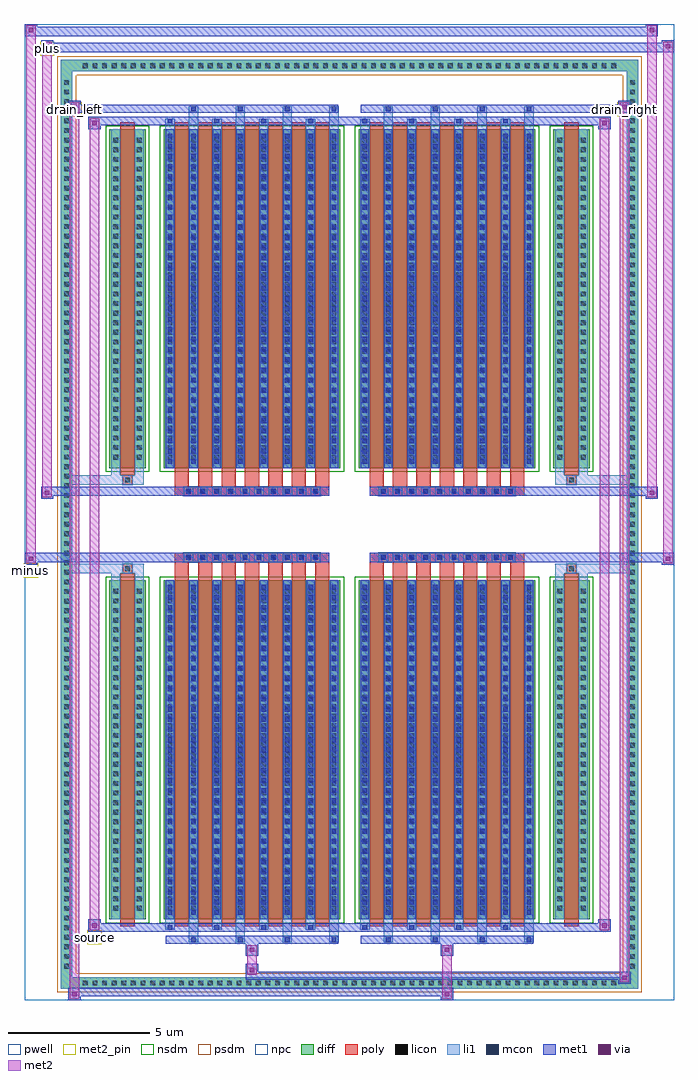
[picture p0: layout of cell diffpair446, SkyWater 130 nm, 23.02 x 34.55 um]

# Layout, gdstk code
import gdstk
lib = gdstk.Library(unit=1e-6, precision=5e-09)
def R(c, l, rs):  # rectangles x0, y0, x1, y1
    for r in rs: c.add(gdstk.rectangle(r[:2], r[2:], *l))
def A(c, l, x, y, w, h, nx, ny, dx, dy):  # array of equal rectangles
    R(c, l, [(x+i*dx, y+j*dy, x+i*dx+w, y+j*dy+h) for i in range(nx) for j in range(ny)])
def P(c, l, *ps):  # polygons
    for p in ps: c.add(gdstk.Polygon(p, *l))
pwell = (64, 44)
diff = (65, 20)
poly = (66, 20)
licon = (66, 44)
li1 = (67, 20)
mcon = (67, 44)
met1 = (68, 20)
via = (68, 44)
met2_pin = (69, 16)
met2 = (69, 20)
nsdm = (93, 44)
psdm = (94, 20)
npc = (95, 20)

diffpair446 = lib.new_cell('diffpair446')
R(diffpair446, pwell, [(-11.49,-16.84,11.49,17.71), (-8.81,-15.03,-0.01,-0.805), (0.01,-15.03,8.81,-0.805), (-8.81,0.805,-0.01,15.03), (0.01,0.805,8.81,15.03)])
A(diffpair446, diff, -9.555, -16.44, 0.41, 0.41, 56, 2, 0.34, 32.47)
A(diffpair446, diff, -10.22, -15.845, 0.41, 0.41, 1, 93, 0, 0.34)
A(diffpair446, diff, 9.81, -15.845, 0.41, 0.41, 1, 93, 0, 0.34)
R(diffpair446, diff, [(-9.555,-16.44,9.555,-16.03), (-10.22,-15.845,-9.81,15.845), (9.81,-15.845,10.22,15.845), (-8.5,-13.985,-7.22,-1.985), (-6.58,-13.985,-0.32,-1.985), (0.32,-13.985,6.58,-1.985), (7.22,-13.985,8.5,-1.985), (-8.5,1.985,-7.22,13.985), (-6.58,1.985,-0.32,13.985), (0.32,1.985,6.58,13.985), (7.22,1.985,8.5,13.985), (-9.555,16.03,9.555,16.44)])
P(diffpair446, diff, [(10.22,16.44),(-10.22,16.44),(-10.22,-16.03),(-9.81,-16.03),(-9.81,16.03),(9.81,16.03),(9.81,-16.03),(-9.81,-16.03),(-10.22,-16.03),(-10.22,-16.44),(10.22,-16.44)])
A(diffpair446, poly, -6.19, -14.235, 0.5, 12.5, 7, 2, 0.83, 15.97)
A(diffpair446, poly, 0.71, -14.235, 0.5, 12.5, 7, 2, 0.83, 15.97)
A(diffpair446, poly, -6.19, -1.735, 0.5, 0.4, 7, 2, 0.83, 3.07)
A(diffpair446, poly, 0.71, -1.735, 0.5, 0.4, 7, 2, 0.83, 3.07)
A(diffpair446, poly, -5.865, -1.335, 0.33, 0.33, 10, 2, 0.5, 2.34)
A(diffpair446, poly, 1.035, -1.335, 0.33, 0.33, 10, 2, 0.5, 2.34)
R(diffpair446, poly, [(-8.11,-14.235,-7.61,-1.735), (7.61,-14.235,8.11,-1.735), (-8.025,-1.735,-7.695,-1.405), (-8.025,-1.735,-7.695,-1.405), (7.695,-1.735,8.025,-1.405), (7.695,-1.735,8.025,-1.405), (-6.19,-1.335,-0.71,-1.005), (0.71,-1.335,6.19,-1.005), (-6.19,1.005,-0.71,1.335), (0.71,1.005,6.19,1.335), (-8.025,1.405,-7.695,1.735), (-8.025,1.405,-7.695,1.735), (7.695,1.405,8.025,1.735), (7.695,1.405,8.025,1.735), (-8.11,1.735,-7.61,14.235), (7.61,1.735,8.11,14.235)])
A(diffpair446, licon, -9.435, -16.32, 0.17, 0.17, 56, 2, 0.34, 32.47)
A(diffpair446, licon, -10.1, -15.725, 0.17, 0.17, 1, 93, 0, 0.34)
A(diffpair446, licon, 9.93, -15.725, 0.17, 0.17, 1, 93, 0, 0.34)
A(diffpair446, licon, -8.36, -13.68, 0.17, 0.17, 1, 34, 0, 0.34)
A(diffpair446, licon, -7.53, -13.68, 0.17, 0.17, 1, 34, 0, 0.34)
A(diffpair446, licon, -6.44, -13.68, 0.17, 0.17, 8, 34, 0.83, 0.34)
A(diffpair446, licon, 0.46, -13.68, 0.17, 0.17, 8, 34, 0.83, 0.34)
A(diffpair446, licon, 7.36, -13.68, 0.17, 0.17, 1, 34, 0, 0.34)
A(diffpair446, licon, 8.19, -13.68, 0.17, 0.17, 1, 34, 0, 0.34)
A(diffpair446, licon, -5.785, -1.255, 0.17, 0.17, 10, 2, 0.5, 2.34)
A(diffpair446, licon, 1.115, -1.255, 0.17, 0.17, 10, 2, 0.5, 2.34)
A(diffpair446, licon, -8.36, 2.29, 0.17, 0.17, 1, 34, 0, 0.34)
A(diffpair446, licon, -7.53, 2.29, 0.17, 0.17, 1, 34, 0, 0.34)
A(diffpair446, licon, -6.44, 2.29, 0.17, 0.17, 8, 34, 0.83, 0.34)
A(diffpair446, licon, 0.46, 2.29, 0.17, 0.17, 8, 34, 0.83, 0.34)
A(diffpair446, licon, 7.36, 2.29, 0.17, 0.17, 1, 34, 0, 0.34)
A(diffpair446, licon, 8.19, 2.29, 0.17, 0.17, 1, 34, 0, 0.34)
R(diffpair446, licon, [(-7.945,-1.655,-7.775,-1.485), (7.775,-1.655,7.945,-1.485), (-7.945,1.485,-7.775,1.655), (7.775,1.485,7.945,1.655)])
A(diffpair446, li1, -9.515, -16.4, 0.33, 0.33, 56, 2, 0.34, 32.47)
A(diffpair446, li1, -10.18, -15.805, 0.33, 0.33, 1, 93, 0, 0.34)
A(diffpair446, li1, 9.85, -15.805, 0.33, 0.33, 1, 93, 0, 0.34)
A(diffpair446, li1, -5.69, -14.79, 0.33, 0.805, 4, 2, 1.66, 28.775)
A(diffpair446, li1, -5.61, -14.79, 0.17, 0.17, 4, 2, 1.66, 29.41)
A(diffpair446, li1, 1.21, -14.79, 0.33, 0.805, 4, 2, 1.66, 28.775)
A(diffpair446, li1, 1.29, -14.79, 0.17, 0.17, 4, 2, 1.66, 29.41)
A(diffpair446, li1, -6.52, -14.36, 0.33, 0.375, 4, 2, 1.66, 28.345)
A(diffpair446, li1, -6.44, -14.36, 0.17, 0.17, 4, 2, 1.66, 28.55)
A(diffpair446, li1, 0.38, -14.36, 0.33, 0.375, 4, 2, 1.66, 28.345)
A(diffpair446, li1, 0.46, -14.36, 0.17, 0.17, 4, 2, 1.66, 28.55)
A(diffpair446, li1, -6.52, -13.985, 0.33, 12, 8, 2, 0.83, 15.97)
A(diffpair446, li1, 0.38, -13.985, 0.33, 12, 8, 2, 0.83, 15.97)
A(diffpair446, li1, -6.44, -13.83, 0.17, 0.17, 8, 33, 0.83, 0.36)
A(diffpair446, li1, -6.44, -13.83, 0.17, 11.69, 8, 2, 0.83, 15.97)
A(diffpair446, li1, 0.46, -13.83, 0.17, 0.17, 8, 33, 0.83, 0.36)
A(diffpair446, li1, 0.46, -13.83, 0.17, 11.69, 8, 2, 0.83, 15.97)
A(diffpair446, li1, -8.44, -13.76, 0.33, 0.33, 1, 34, 0, 0.34)
A(diffpair446, li1, -7.61, -13.76, 0.33, 0.33, 1, 34, 0, 0.34)
A(diffpair446, li1, -6.52, -13.76, 0.33, 0.33, 8, 34, 0.83, 0.34)
A(diffpair446, li1, 0.38, -13.76, 0.33, 0.33, 8, 34, 0.83, 0.34)
A(diffpair446, li1, 7.28, -13.76, 0.33, 0.33, 1, 34, 0, 0.34)
A(diffpair446, li1, 8.11, -13.76, 0.33, 0.33, 1, 34, 0, 0.34)
A(diffpair446, li1, -5.865, -1.335, 0.33, 0.33, 10, 2, 0.5, 2.34)
A(diffpair446, li1, 1.035, -1.335, 0.33, 0.33, 10, 2, 0.5, 2.34)
A(diffpair446, li1, -6.44, 2.14, 0.17, 0.17, 8, 33, 0.83, 0.36)
A(diffpair446, li1, 0.46, 2.14, 0.17, 0.17, 8, 33, 0.83, 0.36)
A(diffpair446, li1, -8.44, 2.21, 0.33, 0.33, 1, 34, 0, 0.34)
A(diffpair446, li1, -7.61, 2.21, 0.33, 0.33, 1, 34, 0, 0.34)
A(diffpair446, li1, -6.52, 2.21, 0.33, 0.33, 8, 34, 0.83, 0.34)
A(diffpair446, li1, 0.38, 2.21, 0.33, 0.33, 8, 34, 0.83, 0.34)
A(diffpair446, li1, 7.28, 2.21, 0.33, 0.33, 1, 34, 0, 0.34)
A(diffpair446, li1, 8.11, 2.21, 0.33, 0.33, 1, 34, 0, 0.34)
R(diffpair446, li1, [(-10.22,-16.44,-9.81,-16.03), (-10.22,-16.44,-9.81,-16.03), (-9.81,-16.44,9.81,-16.03), (9.81,-16.44,10.22,-16.03), (9.81,-16.44,10.22,-16.03), (-10.22,-16.03,-9.81,16.03), (9.81,-16.03,10.22,16.03), (-8.44,-13.985,-8.11,-1.985), (-7.61,-13.985,-7.28,-1.985), (7.28,-13.985,7.61,-1.985), (8.11,-13.985,8.44,-1.985), (-8.44,-1.985,-8.11,-1.405), (-7.61,-1.985,-7.28,-1.405), (7.28,-1.985,7.61,-1.405), (8.11,-1.985,8.44,-1.405), (-10.22,-1.735,-8.025,-1.405), (-8.44,-1.735,-8.025,-1.405), (-8.025,-1.735,-7.695,-1.405), (-7.695,-1.735,-7.28,-1.405), (7.28,-1.735,7.695,-1.405), (7.695,-1.735,8.025,-1.405), (7.695,-1.735,10.22,-1.405), (8.025,-1.735,8.44,-1.405), (-10.22,1.405,-8.025,1.735), (-8.44,1.405,-8.025,1.735), (-8.44,1.405,-8.11,1.985), (-8.025,1.405,-7.695,1.735), (-7.695,1.405,-7.28,1.735), (-7.61,1.405,-7.28,1.985), (7.28,1.405,7.695,1.735), (7.28,1.405,7.61,1.985), (7.695,1.405,8.025,1.735), (7.695,1.405,10.22,1.735), (8.025,1.405,8.44,1.735), (8.11,1.405,8.44,1.985), (-8.44,1.985,-8.11,13.985), (-7.61,1.985,-7.28,13.985), (7.28,1.985,7.61,13.985), (8.11,1.985,8.44,13.985), (-10.22,16.03,-9.81,16.44), (-10.22,16.03,-9.81,16.44), (-9.81,16.03,9.81,16.44), (9.81,16.03,10.22,16.44), (9.81,16.03,10.22,16.44)])
A(diffpair446, mcon, -5.61, -14.79, 0.17, 0.17, 4, 2, 1.66, 29.41)
A(diffpair446, mcon, 1.29, -14.79, 0.17, 0.17, 4, 2, 1.66, 29.41)
A(diffpair446, mcon, -6.44, -14.36, 0.17, 0.17, 4, 2, 1.66, 28.55)
A(diffpair446, mcon, 0.46, -14.36, 0.17, 0.17, 4, 2, 1.66, 28.55)
A(diffpair446, mcon, -6.44, -13.83, 0.17, 0.17, 8, 33, 0.83, 0.36)
A(diffpair446, mcon, 0.46, -13.83, 0.17, 0.17, 8, 33, 0.83, 0.36)
A(diffpair446, mcon, -5.785, -1.255, 0.17, 0.17, 10, 2, 0.5, 2.34)
A(diffpair446, mcon, 1.115, -1.255, 0.17, 0.17, 10, 2, 0.5, 2.34)
A(diffpair446, mcon, -6.44, 2.14, 0.17, 0.17, 8, 33, 0.83, 0.36)
A(diffpair446, mcon, 0.46, 2.14, 0.17, 0.17, 8, 33, 0.83, 0.36)
A(diffpair446, met1, -5.67, -14.85, 0.29, 0.29, 4, 2, 1.66, 29.41)
A(diffpair446, met1, 1.23, -14.85, 0.29, 0.29, 4, 2, 1.66, 29.41)
A(diffpair446, met1, -6.5, -14.42, 0.29, 0.29, 4, 2, 1.66, 28.55)
A(diffpair446, met1, 0.4, -14.42, 0.29, 0.29, 4, 2, 1.66, 28.55)
A(diffpair446, met1, -6.5, -13.985, 0.29, 12, 8, 2, 0.83, 15.97)
A(diffpair446, met1, 0.4, -13.985, 0.29, 12, 8, 2, 0.83, 15.97)
A(diffpair446, met1, -6.5, -13.89, 0.29, 0.29, 8, 33, 0.83, 0.36)
A(diffpair446, met1, 0.4, -13.89, 0.29, 0.29, 8, 33, 0.83, 0.36)
A(diffpair446, met1, -5.845, -1.315, 0.29, 0.29, 10, 2, 0.5, 2.34)
A(diffpair446, met1, 1.055, -1.315, 0.29, 0.29, 10, 2, 0.5, 2.34)
A(diffpair446, met1, -6.5, 2.08, 0.29, 0.29, 8, 33, 0.83, 0.36)
A(diffpair446, met1, 0.4, 2.08, 0.29, 0.29, 8, 33, 0.83, 0.36)
R(diffpair446, met1, [(-9.95,-16.84,-9.52,-16.41), (3.235,-16.84,3.665,-16.41), (-9.95,-16.7,3.665,-16.41), (9.52,-16.27,9.95,-15.84), (-3.665,-16.13,9.95,-15.84), (-3.665,-15.99,-3.235,-15.56), (-3.665,-15.28,-3.235,-14.85), (3.235,-15.28,3.665,-14.85), (-6.5,-14.85,-0.4,-14.56), (0.4,-14.85,6.5,-14.56), (-9.24,-14.42,-8.81,-13.99), (-9.24,-14.42,-6.5,-14.13), (-6.5,-14.42,-0.4,-14.13), (-0.4,-14.42,0.4,-14.13), (0.4,-14.42,6.5,-14.13), (6.5,-14.42,9.24,-14.13), (8.81,-14.42,9.24,-13.99), (-11.49,-1.435,-11.06,-1.005), (11.06,-1.435,11.49,-1.005), (-11.49,-1.335,-0.71,-1.005), (-6.19,-1.335,-0.71,-1.005), (0.71,-1.335,6.19,-1.005), (0.71,-1.335,11.49,-1.005), (-10.92,0.905,-10.49,1.335), (10.49,0.905,10.92,1.335), (-10.92,1.005,-6.19,1.335), (-6.19,1.005,-0.71,1.335), (0.71,1.005,6.19,1.335), (6.19,1.005,10.92,1.335), (-9.24,13.99,-8.81,14.42), (8.81,13.99,9.24,14.42), (-9.24,14.13,-6.5,14.42), (-6.5,14.13,-0.4,14.42), (-0.4,14.13,0.4,14.42), (0.4,14.13,6.5,14.42), (6.5,14.13,9.24,14.42), (-9.95,14.56,-9.52,14.99), (-9.95,14.56,-6.5,14.85), (-6.5,14.56,-0.4,14.85), (0.4,14.56,6.5,14.85), (6.5,14.56,9.95,14.85), (9.52,14.56,9.95,14.99), (-10.92,16.71,-10.49,17.14), (-10.92,16.71,-8.81,17.04), (-8.81,16.71,8.81,17.04), (8.81,16.71,11.49,17.04), (11.06,16.71,11.49,17.14), (-11.49,17.28,-11.06,17.71), (-11.49,17.28,-8.81,17.61), (-8.81,17.28,8.81,17.61), (8.81,17.28,10.92,17.61), (10.49,17.28,10.92,17.71)])
R(diffpair446, via, [(-9.81,-16.7,-9.66,-16.55), (3.375,-16.7,3.525,-16.55), (9.66,-16.13,9.81,-15.98), (-3.525,-15.85,-3.375,-15.7), (-3.525,-15.14,-3.375,-14.99), (3.375,-15.14,3.525,-14.99), (-9.1,-14.28,-8.95,-14.13), (8.95,-14.28,9.1,-14.13), (-11.35,-1.295,-11.2,-1.145), (11.2,-1.295,11.35,-1.145), (-10.78,1.045,-10.63,1.195), (10.63,1.045,10.78,1.195), (-9.1,14.13,-8.95,14.28), (8.95,14.13,9.1,14.28), (-9.81,14.7,-9.66,14.85), (9.66,14.7,9.81,14.85), (-10.78,16.85,-10.63,17), (11.2,16.85,11.35,17), (-11.35,17.42,-11.2,17.57), (10.63,17.42,10.78,17.57)])
R(diffpair446, met2_pin, [(-9.275,-14.87,-8.775,-14.37), (-11.525,-1.885,-11.025,-1.385), (-9.985,14.44,-9.485,14.94), (9.485,14.44,9.985,14.94), (-10.955,16.59,-10.455,17.09)])
R(diffpair446, met2, [(-9.9,-16.79,-9.57,-16.46), (-9.9,-16.79,-9.57,14.94), (3.285,-16.79,3.615,-16.46), (3.285,-16.46,3.615,-15.23), (9.57,-16.22,9.9,-15.89), (9.57,-16.22,9.9,14.94), (-3.615,-15.94,-3.285,-15.61), (-3.615,-15.61,-3.285,-15.23), (-3.615,-15.23,-3.285,-14.9), (3.285,-15.23,3.615,-14.9), (-9.19,-14.37,-8.86,-14.04), (-9.19,-14.37,-8.86,14.37), (8.86,-14.37,9.19,-14.04), (8.86,-14.37,9.19,14.37), (-11.44,-1.385,-11.11,-1.055), (-11.44,-1.385,-11.11,17.66), (11.11,-1.385,11.44,-1.055), (11.11,-1.385,11.44,17.09), (-10.87,0.955,-10.54,1.285), (-10.87,0.955,-10.54,17.09), (10.54,0.955,10.87,1.285), (10.54,0.955,10.87,17.66), (-9.19,14.04,-8.86,14.37), (8.86,14.04,9.19,14.37), (-9.9,14.61,-9.57,14.94), (9.57,14.61,9.9,14.94), (-10.87,16.76,-10.54,17.09), (11.11,16.76,11.44,17.09), (-11.44,17.33,-11.11,17.66), (10.54,17.33,10.87,17.66)])
P(diffpair446, met2, [(11.44,-1.385),(11.44,-1.385),(11.44,-1.055),(11.44,-1.055)],
  [(11.44,16.76),(11.44,16.76),(11.44,17.09),(11.44,17.09)],
  [(-11.11,-1.385),(-11.11,-1.385),(-11.11,-1.055),(-11.11,-1.055)],
  [(-11.11,17.33),(-11.11,17.33),(-11.11,17.66),(-11.11,17.66)],
  [(10.87,0.955),(10.87,0.955),(10.87,1.285),(10.87,1.285)],
  [(10.87,17.33),(10.87,17.33),(10.87,17.66),(10.87,17.66)],
  [(-10.54,0.955),(-10.54,0.955),(-10.54,1.285),(-10.54,1.285)],
  [(-10.54,16.76),(-10.54,16.76),(-10.54,17.09),(-10.54,17.09)],
  [(-9.57,-16.79),(-9.57,-16.79),(-9.57,-16.46),(-9.57,-16.46)],
  [(-9.57,14.61),(-9.57,14.61),(-9.57,14.94),(-9.57,14.94)],
  [(9.9,-16.22),(9.9,-16.22),(9.9,-15.89),(9.9,-15.89)],
  [(9.9,14.61),(9.9,14.61),(9.9,14.94),(9.9,14.94)],
  [(-8.86,-14.37),(-8.86,-14.37),(-8.86,-14.04),(-8.86,-14.04)],
  [(-8.86,14.04),(-8.86,14.04),(-8.86,14.37),(-8.86,14.37)],
  [(9.19,-14.37),(9.19,-14.37),(9.19,-14.04),(9.19,-14.04)],
  [(9.19,14.04),(9.19,14.04),(9.19,14.37),(9.19,14.37)])
R(diffpair446, nsdm, [(-8.63,-14.115,-7.09,-1.855), (-6.71,-14.115,-0.19,-1.855), (0.19,-14.115,6.71,-1.855), (7.09,-14.115,8.63,-1.855), (-8.63,1.855,-7.09,14.115), (-6.71,1.855,-0.19,14.115), (0.19,1.855,6.71,14.115), (7.09,1.855,8.63,14.115)])
P(diffpair446, psdm, [(10.35,16.57),(-10.35,16.57),(-10.35,-15.9),(-9.68,-15.9),(-9.68,15.9),(9.68,15.9),(9.68,-15.9),(-9.68,-15.9),(-10.35,-15.9),(-10.35,-16.57),(10.35,-16.57)])
A(diffpair446, npc, -5.885, -1.355, 0.37, 0.37, 10, 2, 0.5, 2.34)
A(diffpair446, npc, 1.015, -1.355, 0.37, 0.37, 10, 2, 0.5, 2.34)
R(diffpair446, npc, [(-8.045,-1.755,-7.675,-1.385), (7.675,-1.755,8.045,-1.385), (-5.885,-1.355,-5.015,-0.985), (-5.885,-1.355,-5.015,-0.985), (-5.385,-1.355,-4.515,-0.985), (-5.385,-1.355,-4.515,-0.985), (-4.885,-1.355,-4.015,-0.985), (-4.885,-1.355,-4.015,-0.985), (-4.385,-1.355,-3.515,-0.985), (-4.385,-1.355,-3.515,-0.985), (-3.885,-1.355,-3.015,-0.985), (-3.885,-1.355,-3.015,-0.985), (-3.385,-1.355,-2.515,-0.985), (-3.385,-1.355,-2.515,-0.985), (-2.885,-1.355,-2.015,-0.985), (-2.885,-1.355,-2.015,-0.985), (-2.385,-1.355,-1.515,-0.985), (-2.385,-1.355,-1.515,-0.985), (-1.885,-1.355,-1.015,-0.985), (-1.885,-1.355,-1.015,-0.985), (1.015,-1.355,1.885,-0.985), (1.015,-1.355,1.885,-0.985), (1.515,-1.355,2.385,-0.985), (1.515,-1.355,2.385,-0.985), (2.015,-1.355,2.885,-0.985), (2.015,-1.355,2.885,-0.985), (2.515,-1.355,3.385,-0.985), (2.515,-1.355,3.385,-0.985), (3.015,-1.355,3.885,-0.985), (3.015,-1.355,3.885,-0.985), (3.515,-1.355,4.385,-0.985), (3.515,-1.355,4.385,-0.985), (4.015,-1.355,4.885,-0.985), (4.015,-1.355,4.885,-0.985), (4.515,-1.355,5.385,-0.985), (4.515,-1.355,5.385,-0.985), (5.015,-1.355,5.885,-0.985), (5.015,-1.355,5.885,-0.985), (-5.885,0.985,-5.015,1.355), (-5.885,0.985,-5.015,1.355), (-5.385,0.985,-4.515,1.355), (-5.385,0.985,-4.515,1.355), (-4.885,0.985,-4.015,1.355), (-4.885,0.985,-4.015,1.355), (-4.385,0.985,-3.515,1.355), (-4.385,0.985,-3.515,1.355), (-3.885,0.985,-3.015,1.355), (-3.885,0.985,-3.015,1.355), (-3.385,0.985,-2.515,1.355), (-3.385,0.985,-2.515,1.355), (-2.885,0.985,-2.015,1.355), (-2.885,0.985,-2.015,1.355), (-2.385,0.985,-1.515,1.355), (-2.385,0.985,-1.515,1.355), (-1.885,0.985,-1.015,1.355), (-1.885,0.985,-1.015,1.355), (1.015,0.985,1.885,1.355), (1.015,0.985,1.885,1.355), (1.515,0.985,2.385,1.355), (1.515,0.985,2.385,1.355), (2.015,0.985,2.885,1.355), (2.015,0.985,2.885,1.355), (2.515,0.985,3.385,1.355), (2.515,0.985,3.385,1.355), (3.015,0.985,3.885,1.355), (3.015,0.985,3.885,1.355), (3.515,0.985,4.385,1.355), (3.515,0.985,4.385,1.355), (4.015,0.985,4.885,1.355), (4.015,0.985,4.885,1.355), (4.515,0.985,5.385,1.355), (4.515,0.985,5.385,1.355), (5.015,0.985,5.885,1.355), (5.015,0.985,5.885,1.355), (-8.045,1.385,-7.675,1.755), (7.675,1.385,8.045,1.755)])
diffpair446.add(gdstk.Label('minus', (-11.275,-1.635), layer=69, texttype=5))
diffpair446.add(gdstk.Label('drain_right', (9.735,14.69), layer=69, texttype=5))
diffpair446.add(gdstk.Label('drain_left', (-9.735,14.69), layer=69, texttype=5))
diffpair446.add(gdstk.Label('source', (-9.025,-14.62), layer=69, texttype=5))
diffpair446.add(gdstk.Label('plus', (-10.705,16.84), layer=69, texttype=5))

lib.write_gds('diffpair446.gds')
